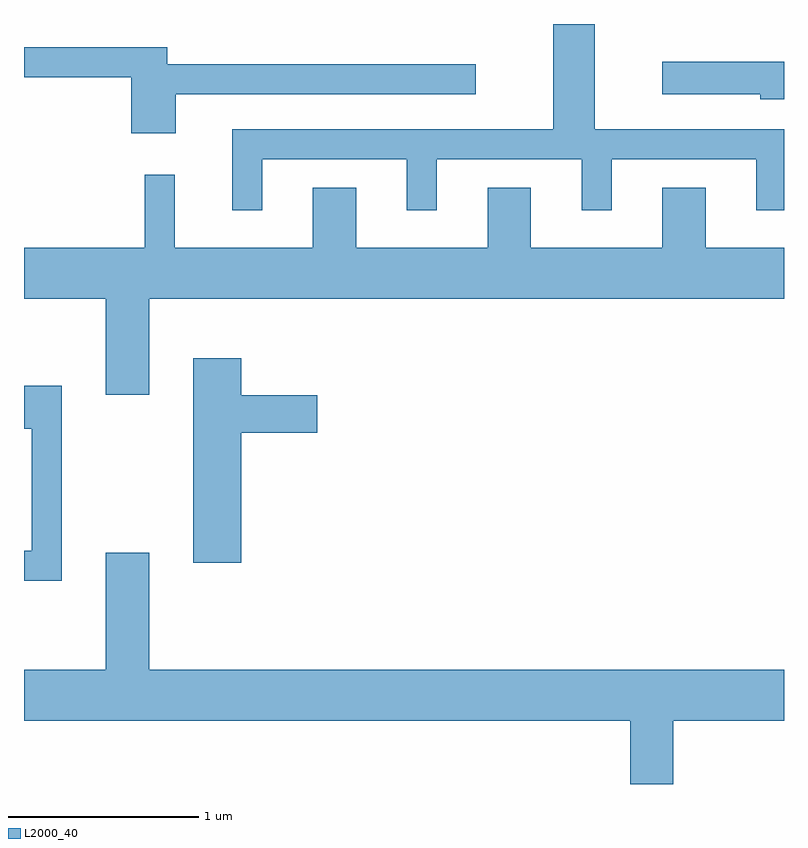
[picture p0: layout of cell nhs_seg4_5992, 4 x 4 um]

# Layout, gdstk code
import gdstk
lib = gdstk.Library(unit=1e-6, precision=1e-09)
def P(c, l, *ps):  # polygons
    for p in ps: c.add(gdstk.Polygon(p, *l))
L2000_40 = (2000, 40)

nhs_seg4_5992 = lib.new_cell('nhs_seg4_5992')
P(nhs_seg4_5992, L2000_40, [(362.864,1273.271),(363.626,1273.271),(363.626,1273.003),(363.784,1273.003),(363.784,1273.271),(364.546,1273.271),(364.546,1273.003),(364.704,1273.003),(364.704,1273.271),(365.466,1273.271),(365.466,1273.003),(365.611,1273.003),(365.611,1273.429),(364.614,1273.429),(364.614,1273.982),(364.396,1273.982),(364.396,1273.429),(362.706,1273.429),(362.706,1273.003),(362.864,1273.003)],
  [(362.409,1273.611),(363.988,1273.611),(363.988,1273.769),(362.364,1273.769),(362.364,1273.859),(361.611,1273.859),(361.611,1273.701),(362.176,1273.701),(362.176,1273.406),(362.409,1273.406)],
  [(365.611,1273.784),(364.971,1273.784),(364.971,1273.611),(365.486,1273.611),(365.486,1273.586),(365.611,1273.586)],
  [(362.269,1272.536),(365.611,1272.536),(365.611,1272.804),(365.199,1272.804),(365.199,1273.119),(364.971,1273.119),(364.971,1272.804),(364.279,1272.804),(364.279,1273.119),(364.051,1273.119),(364.051,1272.804),(363.359,1272.804),(363.359,1273.119),(363.131,1273.119),(363.131,1272.804),(362.404,1272.804),(362.404,1273.188),(362.246,1273.188),(362.246,1272.804),(361.611,1272.804),(361.611,1272.536),(362.041,1272.536),(362.041,1272.031),(362.269,1272.031)],
  [(362.754,1271.831),(363.154,1271.831),(363.154,1272.029),(362.754,1272.029),(362.754,1272.224),(362.501,1272.224),(362.501,1271.146),(362.754,1271.146)],
  [(361.809,1272.079),(361.611,1272.079),(361.611,1271.851),(361.651,1271.851),(361.651,1271.209),(361.611,1271.209),(361.611,1271.051),(361.809,1271.051)],
  [(365.029,1270.316),(365.611,1270.316),(365.611,1270.584),(362.269,1270.584),(362.269,1271.199),(362.041,1271.199),(362.041,1270.584),(361.611,1270.584),(361.611,1270.316),(364.801,1270.316),(364.801,1269.982),(365.029,1269.982)])

lib.write_gds('nhs_seg4_5992.gds')
